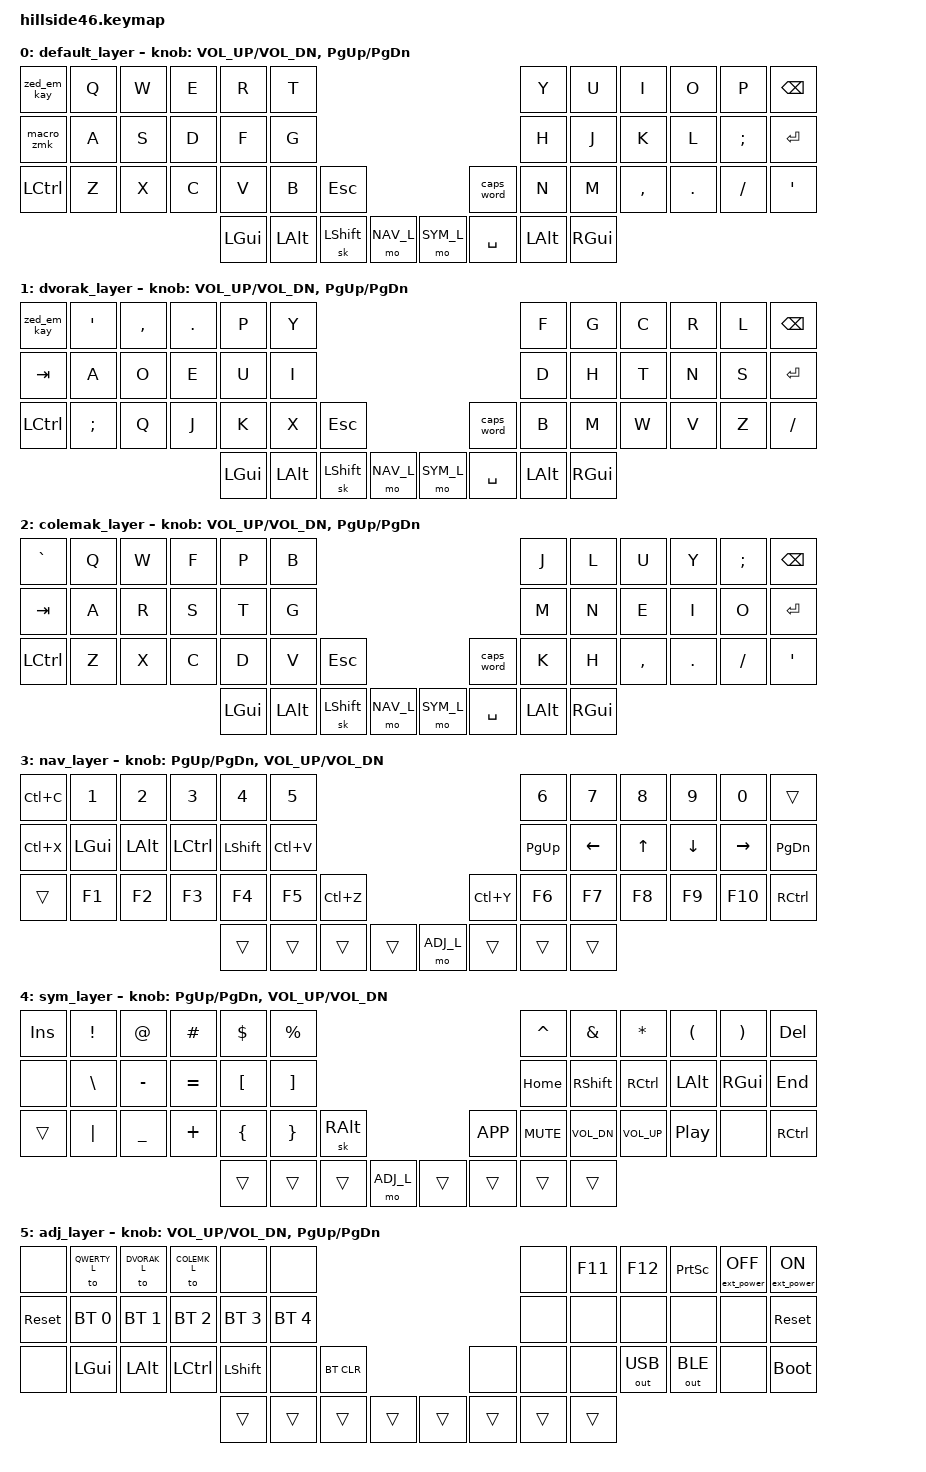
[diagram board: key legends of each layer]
/*
 * Copyright (c) 2021-2022 The ZMK Contributors
 *
 * SPDX-License-Identifier: MIT
 */

#include <behaviors.dtsi>
#include <dt-bindings/zmk/bt.h>
#include <dt-bindings/zmk/ext_power.h>
#include <dt-bindings/zmk/keys.h>
#include <dt-bindings/zmk/outputs.h>

#define QWERTY_L 0
#define DVORAK_L 1
#define COLEMK_L 2
#define NAV_L    3
#define SYM_L    4
#define ADJ_L    5

#define Undo   LC(Z)
#define Cut    LC(X)
#define Copy   LC(C)
#define Paste  LC(V)
#define Redo   LC(Y)

// #define MACRO(NAME, BINDINGS) \
//   macro_##NAME { \
//     label = "ZM_"NAME;
//     compatible = "zmk,behavior-macro";
//     #binding-cells = <0>;
//     bindings = <BINDINGS>; \
//   };

#define MACRO(NAME, BINDINGS) \
  macro_##NAME { \
    label = "ZM_"NAME; \
    #binding-cells = <0>; \
    bindings = <BINDINGS> \
  };
   
   
/ {
        macros {
                compatible = "zmk,behavior-macro";
             
                MACRO(zmk, &kp K)
        };

        keymap {
                compatible = "zmk,keymap";

                default_layer {
/* QWERTY
 * -------------------------------------------------------------------------------------------------------------------------------------
 * | `     |   Q   |   W   |   E   |   R   |   T   |-----------------------------------|   Y   |   U   |   I   |   O   |   P   | BKSPC |
 * | TAB   |   A   |   S   |   D   |   F   |   G   |-----------------------------------|   H   |   J   |   K   |   L   |   ;   | ENTER |
 * | CTRL  |   Z   |   X   |   C   |   V   |   B   |  ESC  |-------------------|  CAPS |   N   |   M   |   ,   |   .   |   /   |   '   |
 *                                 |  GUI  |  ALT  |SK SHFT|  Nav  |---|  Sym  | SPACE |  ALT  |  GUI  |
 */
                        bindings = <
&zed_em_kay    &kp  Q        &kp  W        &kp  E        &kp  R        &kp  T                                                                         &kp  Y        &kp  U        &kp  I        &kp  O        &kp  P        &kp  BSPC
&macro_zmk      &kp  A        &kp  S        &kp  D        &kp  F        &kp  G                                                                         &kp  H        &kp  J        &kp  K        &kp  L        &kp  SEMI     &kp  ENTER  
&kp  LCTRL    &kp  Z        &kp  X        &kp  C        &kp  V        &kp  B        &kp  ESC                                           &caps_word    &kp  N        &kp  M        &kp  COMMA    &kp  DOT      &kp  SLASH    &kp  SQT
                                                        &kp  LGUI     &kp  LALT     &sk  LSHIFT    &mo  NAV_L            &mo  SYM_L    &kp  SPACE    &kp  LALT     &kp  RGUI
                        >;
			
                        sensor-bindings = <&inc_dec_kp C_VOL_UP C_VOL_DN &inc_dec_kp PG_UP PG_DN>;
                };
		
                dvorak_layer {
/* DVORAK
 * -------------------------------------------------------------------------------------------------------------------------------------
 * | `     |   '   |   ,   |   .   |   P   |   Y   |-----------------------------------|   F   |   G   |   C   |   R   |   L   | BKSPC |
 * | TAB   |   A   |   O   |   E   |   U   |   I   |-----------------------------------|   D   |   H   |   T   |   N   |   S   | ENTER |
 * | CTRL  |   ;   |   Q   |   J   |   K   |   X   |  ESC  |-------------------| CAPS  |   B   |   M   |   W   |   V   |   Z   |   /   |
 *                                 |  GUI  |  ALT  |SK SHFT|  Nav  |---|  Sym  | SPACE |  ALT  |  GUI  |
 */
                        bindings = <
&zed_em_kay    &kp  SQT      &kp  COMMA    &kp  DOT      &kp  P        &kp  Y                                                                         &kp  F        &kp  G        &kp  C        &kp  R        &kp  L        &kp  BSPC
&kp  TAB      &kp  A        &kp  O        &kp  E        &kp  U        &kp  I                                                                         &kp  D        &kp  H        &kp  T        &kp  N        &kp  S        &kp  ENTER
&kp  LCTRL    &kp  SEMI     &kp  Q        &kp  J        &kp  K        &kp  X        &kp  ESC                                           &caps_word    &kp  B        &kp  M        &kp  W        &kp  V        &kp  Z        &kp  SLASH
                                                        &kp  LGUI     &kp  LALT     &sk  LSHIFT    &mo  NAV_L            &mo  SYM_L    &kp  SPACE    &kp  LALT     &kp  RGUI
                        >;
			
                        sensor-bindings = <&inc_dec_kp C_VOL_UP C_VOL_DN &inc_dec_kp PG_UP PG_DN>;
                };
		
                colemak_layer {
/* COLEMAK-DH
 * -------------------------------------------------------------------------------------------------------------------------------------
 * | `     |   Q   |   W   |   F   |   P   |   B   |-----------------------------------|   J   |   L   |   U   |   Y   |   ;   | BKSPC |
 * | TAB   |   A   |   R   |   S   |   T   |   G   |-----------------------------------|   M   |   N   |   E   |   I   |   O   | ENTER |
 * | CTRL  |   Z   |   X   |   C   |   D   |   V   |  ESC  |-------------------| CAPS  |   K   |   H   |   ,   |   .   |   /   |   '   |
 *                                 |  GUI  |  ALT  |SK SHFT|  Nav  |---|  Sym  | SPACE |  ALT  |  GUI  |
 */
                        bindings = <
&kp  GRAVE    &kp  Q        &kp  W        &kp  F        &kp  P        &kp  B                                                                         &kp  J        &kp  L        &kp  U        &kp  Y        &kp  SEMI     &kp  BSPC
&kp  TAB      &kp  A        &kp  R        &kp  S        &kp  T        &kp  G                                                                         &kp  M        &kp  N        &kp  E        &kp  I        &kp  O        &kp  ENTER
&kp  LCTRL    &kp  Z        &kp  X        &kp  C        &kp  D        &kp  V        &kp   ESC                                          &caps_word    &kp  K        &kp  H        &kp  COMMA    &kp  DOT      &kp  SLASH    &kp  SQT
                                                        &kp  LGUI     &kp  LALT     &sk  LSHIFT    &mo  NAV_L            &mo  SYM_L    &kp  SPACE    &kp  LALT     &kp  RGUI
                        >;
			
                        sensor-bindings = <&inc_dec_kp C_VOL_UP C_VOL_DN &inc_dec_kp PG_UP PG_DN>;
                };
		
                nav_layer {
/* NAV   
 * -------------------------------------------------------------------------------------------------------------------------------------
 * | Copy  |   1   |   2   |   3   |   4   |   5   |-----------------------------------|   6   |   7   |   8   |   9   |   0   | BSPC  |
 * | Cut   |  GUI  |  Alt  | Ctrl  | Shift | Paste |-----------------------------------| PG UP |  Left |  Up   |  Down | Right | PG DN |
 * | Ctrl  |  F1   |  F2   |  F3   |  F4   |  F5   |  UnDo |-------------------| ReDo  |  F6   |  F7   |  F8   |  F9   |  F10  | Ctrl  |
 *                                 |       |       |       |       |---| ADJ_L |       |       |       |
 */
                        bindings = <
&kp  Copy     &kp  N1       &kp  N2       &kp  N3       &kp  N4       &kp  N5                                                                        &kp   N6      &kp   N7      &kp   N8      &kp   N9      &kp  N0       &trans
&kp  Cut      &kp  LGUI     &kp  LALT     &kp  LCTRL    &kp  LSHFT    &kp  Paste                                                                     &kp   PG_UP   &kp  LEFT    &kp   UP      &kp   DOWN    &kp  RIGHT    &kp PG_DN
&trans        &kp  F1       &kp  F2       &kp  F3       &kp  F4       &kp  F5       &kp Undo                                           &kp  Redo     &kp   F6      &kp  F7      &kp   F8      &kp   F9      &kp  F10      &kp RCTRL
                                                        &trans        &trans        &trans        &trans                 &mo ADJ_L     &trans        &trans        &trans 
                        >;
			
                        sensor-bindings = <&inc_dec_kp PG_UP PG_DN &inc_dec_kp C_VOL_UP C_VOL_DN>;
                };

                sym_layer {
/* SYM
 * -------------------------------------------------------------------------------------------------------------------------------------
 * | INS   |   !   |   @   |   #   |   $   |   %   |-----------------------------------|   ^   |   &   |   *   |   (   |   )   | BSPC  |
 * |       |   \   |   -   |   =   |   [   |   ]   |-----------------------------------| HOME  | Shift | Ctrl  | Alt   | Gui   | END   |
 * | Ctrl  |   |   |   _   |   +   |   {   |   }   |SkAltGr|-------------------| MENU  | Mute  | Vol-  | Vol+  | Play  |       | Ctrl  |
 *                                 |       |       |       |  ADJ_L |---|      |       |       |       |
 */
                        bindings = <
&kp  INS      &kp  EXCL     &kp  AT       &kp  HASH     &kp  DOLLAR   &kp  PERCENT                                                                   &kp  CARET    &kp  AMPS     &kp  ASTRK    &kp  LPAR     &kp  RPAR     &kp DEL
&none         &kp  BSLH     &kp  MINUS    &kp  EQUAL    &kp  LBKT     &kp  RBKT                                                                      &kp  HOME     &kp  RSHFT    &kp  RCTRL    &kp  LALT     &kp  RGUI     &kp END
&trans        &kp  PIPE     &kp  UNDER    &kp  PLUS     &kp  LBRC     &kp  RBRC     &sk  RALT                                          &kp K_APP     &kp  C_MUTE   &kp  C_VOL_DN &kp  C_VOL_UP &kp  C_PP     &none         &kp RCTRL
                                                        &trans        &trans        &trans       &mo  ADJ_L               &trans       &trans        &trans        &trans
                        >;
			
                        sensor-bindings = <&inc_dec_kp PG_UP PG_DN &inc_dec_kp C_VOL_UP C_VOL_DN>;
                };
		
                adj_layer {
/* ADJUST
 * -------------------------------------------------------------------------------------------------------------------------------------
 * |       | QWERTY| DVORAK| COLEMK|       |       |-----------------------------------|       |  F11  |  F12  |Prt Scr|EP_OFF | EP_ON |
 * | RESET | BT 0  | BT 1  | BT 2  | BT 3  | BT 4  |-----------------------------------|       |       |       |       |       | RESET |
 * |       | LGUI  | LALT  | LCTRL | LSHIFT|       |BT CLR |-------------------|       |       |       |OUT_USB|OUT_BLE|       | BOOTL |
 *                                 |       |       |       |       |---|       |       |       |       |
 */
                        bindings = <
&none         &to  QWERTY_L &to  DVORAK_L &to  COLEMK_L &none         &none                                                                             &none             &kp   F11          &kp   F12  &kp PRINTSCREEN   &ext_power EP_OFF  &ext_power EP_ON
&sys_reset    &bt  BT_SEL 0 &bt  BT_SEL 1 &bt  BT_SEL 2 &bt  BT_SEL 3 &bt  BT_SEL 4                                                                     &none             &none              &none            &none          &none           &sys_reset
&none         &kp  LGUI     &kp  LALT     &kp  LCTRL    &kp LSHIFT    &none         &bt BT_CLR                                         &none            &none             &none              &out  OUT_USB    &out  OUT_BLE  &none           &bootloader
                                                        &trans        &trans        &trans        &trans                 &trans        &trans           &trans            &trans 
                        >;
			
                        sensor-bindings = <&inc_dec_kp C_VOL_UP C_VOL_DN &inc_dec_kp PG_UP PG_DN>;
                };
        };
};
